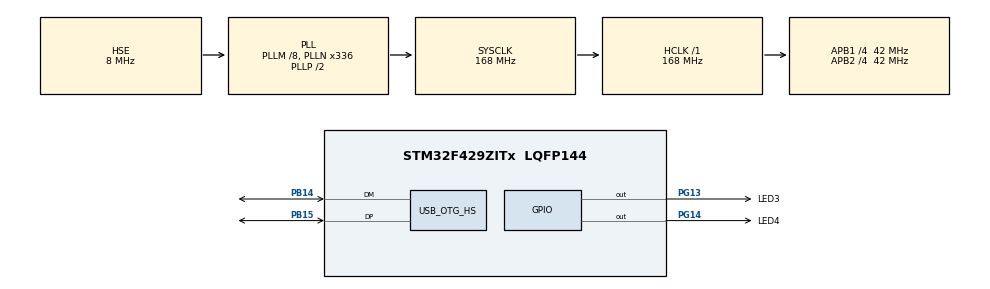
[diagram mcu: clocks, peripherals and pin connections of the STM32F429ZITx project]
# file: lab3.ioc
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Mcu.Family=STM32F4
Mcu.Name=STM32F429ZITx
Mcu.Package=LQFP144
NVIC.OTG_HS_IRQn=true\:0\:0\:false\:false\:true\:true\:true\:true
NVIC.PriorityGroup=NVIC_PRIORITYGROUP_4
PA13.Mode=Serial_Wire
PA13.Signal=SYS_JTMS-SWDIO
PA14.Mode=Serial_Wire
PA14.Signal=SYS_JTCK-SWCLK
PB14.Mode=Device_Only_FS
PB14.Signal=USB_OTG_HS_DM
PB15.Mode=Device_Only_FS
PB15.Signal=USB_OTG_HS_DP
PG13.GPIO_Label=LED3
PG13.Signal=GPIO_Output
PG14.GPIO_Label=LED4
PG14.Signal=GPIO_Output
PH0/OSC_IN.Mode=HSE-External-Oscillator
PH0/OSC_IN.Signal=RCC_OSC_IN
PH1/OSC_OUT.Mode=HSE-External-Oscillator
PH1/OSC_OUT.Signal=RCC_OSC_OUT
ProjectManager.HeapSize=0x2000
ProjectManager.StackSize=0x400
ProjectManager.TargetToolchain=STM32CubeIDE
RCC.48MHZClocksFreq_Value=48000000
RCC.AHBFreq_Value=168000000
RCC.APB1CLKDivider=RCC_HCLK_DIV4
RCC.APB1Freq_Value=42000000
RCC.APB1TimFreq_Value=84000000
RCC.APB2CLKDivider=RCC_HCLK_DIV4
RCC.APB2Freq_Value=42000000
RCC.APB2TimFreq_Value=84000000
RCC.CortexFreq_Value=168000000
RCC.HCLKFreq_Value=168000000
RCC.HSE_VALUE=8000000
RCC.HSI_VALUE=16000000
RCC.LSE_VALUE=32768
RCC.PLLM=8
RCC.PLLN=336
RCC.PLLQ=7
RCC.SYSCLKFreq_VALUE=168000000
RCC.SYSCLKSource=RCC_SYSCLKSOURCE_PLLCLK
RCC.VCOOutputFreq_Value=336000000
USB_DEVICE.CLASS_NAME_HS=CDC
USB_DEVICE.VirtualMode-CDC_HS=Cdc
USB_DEVICE.VirtualModeHS=Cdc_HS
USB_OTG_HS.VirtualMode-Device_Only_FS=Device_Only_FS
VP_USB_DEVICE_VS_USB_DEVICE_CDC_HS.Mode=CDC_HS
board=custom

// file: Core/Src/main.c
/* USER CODE BEGIN Header */
/**
  ******************************************************************************
  * @file           : main.c
  * @brief          : Main program body
  ******************************************************************************
  * @attention
  *
  * Copyright (c) 2024 STMicroelectronics.
  * All rights reserved.
  *
  * This software is licensed under terms that can be found in the LICENSE file
  * in the root directory of this software component.
  * If no LICENSE file comes with this software, it is provided AS-IS.
  *
  ******************************************************************************
  */
/* USER CODE END Header */
#include "main.h"
#include "usb_device.h"

/* USER CODE BEGIN Includes */
#include "usbd_cdc_if.h"
#include "stm32f429i_discovery_lcd.h"
/* USER CODE END Includes */

/* USER CODE BEGIN PV */
uint8_t usb_rx_buffer[64]; // Buffer nhận dữ liệu từ USB
uint8_t hello_msg[] = "Hello STM";
uint8_t turn_on_led3[] = "Turn on LED 3";
uint8_t turn_on_led4[] = "Turn on LED 4";
uint8_t turn_off_led3[] = "Turn off LED 3";
uint8_t turn_off_led4[] = "Turn off LED 4";
uint8_t good_night[] = "Good night";
/* USER CODE END PV */

void SystemClock_Config(void);
static void MX_GPIO_Init(void);

int main(void)
{

  /* MCU Configuration--------------------------------------------------------*/

  /* Reset of all peripherals, Initializes the Flash interface and the Systick. */
  HAL_Init();

  /* Configure the system clock */
  SystemClock_Config();

  /* Initialize all configured peripherals */
  MX_GPIO_Init();
  MX_USB_DEVICE_Init();
  /* USER CODE BEGIN 2 */
  BSP_LCD_Init();//init LCD

  BSP_LCD_LayerDefaultInit(1, SDRAM_DEVICE_ADDR);
  BSP_LCD_SelectLayer(1);
  BSP_LCD_DisplayOn();
  BSP_LCD_Clear(LCD_COLOR_BLUE);
  BSP_LCD_SetBackColor(LCD_COLOR_BLUE);
  BSP_LCD_SetTextColor(LCD_COLOR_WHITE);
  BSP_LCD_DisplayStringAtLine(2, "Good evening,");
  BSP_LCD_DisplayStringAtLine(3, "it's too dark");
  BSP_LCD_DisplayStringAtLine(4, "here");
  /* USER CODE END 2 */

  /* Infinite loop */
  while (1)
  {

    /* USER CODE BEGIN 3 */
	  if(usb_rx_buffer[0] != 0)
	  {
		  if (strcmp((char *)usb_rx_buffer, (char *)hello_msg) == 0)
		  {
			  BSP_LCD_ClearStringLine(2);
			  BSP_LCD_DisplayStringAtLine(2, "Do you want to");
			  BSP_LCD_DisplayStringAtLine(3, "turn on light");
		  }
		  else if (strcmp((char *)usb_rx_buffer, (char *)turn_on_led3) == 0)
		  {
			  BSP_LCD_ClearStringLine(2);
			  BSP_LCD_DisplayStringAtLine(2, turn_on_led3);
			  HAL_GPIO_WritePin(GPIOG, LED3_Pin, GPIO_PIN_SET);
		  }
		  else if (strcmp((char *)usb_rx_buffer, (char *)turn_on_led4) == 0)
		  {
			  BSP_LCD_ClearStringLine(2);
			  BSP_LCD_DisplayStringAtLine(2, turn_on_led4);
			  HAL_GPIO_WritePin(GPIOG, LED4_Pin, GPIO_PIN_SET);
		  }
		  else if (strcmp((char *)usb_rx_buffer, (char *)turn_off_led3) == 0)
		  {
			  BSP_LCD_ClearStringLine(2);
			  BSP_LCD_DisplayStringAtLine(2, turn_off_led3);
			  HAL_GPIO_WritePin(GPIOG, LED3_Pin, GPIO_PIN_RESET);
		  }
		  else if (strcmp((char *)usb_rx_buffer, (char *)turn_off_led4) == 0)
		  {
			  BSP_LCD_ClearStringLine(2);
			  BSP_LCD_DisplayStringAtLine(2, turn_off_led4);
			  HAL_GPIO_WritePin(GPIOG, LED4_Pin, GPIO_PIN_RESET);
		  }
		  else if (strcmp((char *)usb_rx_buffer, (char *)good_night) == 0)
		  {
			  BSP_LCD_ClearStringLine(2);
			  BSP_LCD_DisplayStringAtLine(2, good_night);
			  // Tắt cả hai đèn LED
			  HAL_GPIO_WritePin(GPIOG, LED3_Pin, GPIO_PIN_RESET);
			  HAL_GPIO_WritePin(GPIOG, LED4_Pin, GPIO_PIN_RESET);
		  }
		  // Xóa buffer sau khi xử lý xong
		  memset(usb_rx_buffer, 0, sizeof(usb_rx_buffer));
	  }
  }
  /* USER CODE END 3 */
}

void SystemClock_Config(void)
{
  RCC_OscInitTypeDef RCC_OscInitStruct = {0};
  RCC_ClkInitTypeDef RCC_ClkInitStruct = {0};

  /** Configure the main internal regulator output voltage
  */
  __HAL_RCC_PWR_CLK_ENABLE();
  __HAL_PWR_VOLTAGESCALING_CONFIG(PWR_REGULATOR_VOLTAGE_SCALE1);

  /** Initializes the RCC Oscillators according to the specified parameters
  * in the RCC_OscInitTypeDef structure.
  */
  RCC_OscInitStruct.OscillatorType = RCC_OSCILLATORTYPE_HSE;
  RCC_OscInitStruct.HSEState = RCC_HSE_ON;
  RCC_OscInitStruct.PLL.PLLState = RCC_PLL_ON;
  RCC_OscInitStruct.PLL.PLLSource = RCC_PLLSOURCE_HSE;
  RCC_OscInitStruct.PLL.PLLM = 8;
  RCC_OscInitStruct.PLL.PLLN = 336;
  RCC_OscInitStruct.PLL.PLLP = RCC_PLLP_DIV2;
  RCC_OscInitStruct.PLL.PLLQ = 7;
  if (HAL_RCC_OscConfig(&RCC_OscInitStruct) != HAL_OK)
  {
    Error_Handler();
  }

  /** Initializes the CPU, AHB and APB buses clocks
  */
  RCC_ClkInitStruct.ClockType = RCC_CLOCKTYPE_HCLK|RCC_CLOCKTYPE_SYSCLK
                              |RCC_CLOCKTYPE_PCLK1|RCC_CLOCKTYPE_PCLK2;
  RCC_ClkInitStruct.SYSCLKSource = RCC_SYSCLKSOURCE_PLLCLK;
  RCC_ClkInitStruct.AHBCLKDivider = RCC_SYSCLK_DIV1;
  RCC_ClkInitStruct.APB1CLKDivider = RCC_HCLK_DIV4;
  RCC_ClkInitStruct.APB2CLKDivider = RCC_HCLK_DIV4;

  if (HAL_RCC_ClockConfig(&RCC_ClkInitStruct, FLASH_LATENCY_5) != HAL_OK)
  {
    Error_Handler();
  }
}

static void MX_GPIO_Init(void)
{
  GPIO_InitTypeDef GPIO_InitStruct = {0};

  /* GPIO Ports Clock Enable */
  __HAL_RCC_GPIOH_CLK_ENABLE();
  __HAL_RCC_GPIOB_CLK_ENABLE();
  __HAL_RCC_GPIOA_CLK_ENABLE();
  __HAL_RCC_GPIOG_CLK_ENABLE();

  /*Configure GPIO pin Output Level */
  HAL_GPIO_WritePin(GPIOG, LED3_Pin|LED4_Pin, GPIO_PIN_RESET);

  /*Configure GPIO pins : LED3_Pin LED4_Pin */
  GPIO_InitStruct.Pin = LED3_Pin|LED4_Pin;
  GPIO_InitStruct.Mode = GPIO_MODE_OUTPUT_PP;
  GPIO_InitStruct.Pull = GPIO_NOPULL;
  GPIO_InitStruct.Speed = GPIO_SPEED_FREQ_LOW;
  HAL_GPIO_Init(GPIOG, &GPIO_InitStruct);

}

void Error_Handler(void)
{
  __disable_irq();
  while (1)
  {
  }
}
